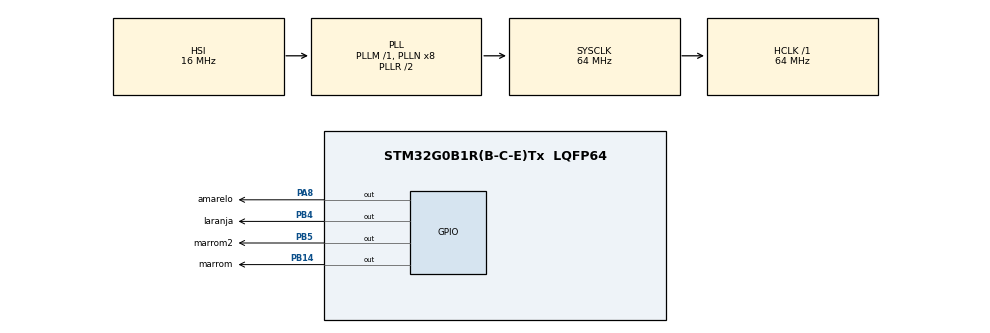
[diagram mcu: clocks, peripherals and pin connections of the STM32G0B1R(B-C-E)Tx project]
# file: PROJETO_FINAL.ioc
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Mcu.Family=STM32G0
Mcu.Name=STM32G0B1R(B-C-E)Tx
Mcu.Package=LQFP64
PA13.Mode=Serial_Wire
PA13.Signal=SYS_SWDIO
PA14-BOOT0.Mode=Serial_Wire
PA14-BOOT0.Signal=SYS_SWCLK
PA8.GPIO_Label=amarelo
PA8.GPIO_Speed=GPIO_SPEED_FREQ_VERY_HIGH
PA8.Signal=GPIO_Output
PB14.GPIO_Label=marrom
PB14.GPIO_Speed=GPIO_SPEED_FREQ_VERY_HIGH
PB14.Signal=GPIO_Output
PB4.GPIO_Label=laranja
PB4.GPIO_Speed=GPIO_SPEED_FREQ_VERY_HIGH
PB4.Signal=GPIO_Output
PB5.GPIO_Label=marrom2
PB5.GPIO_Speed=GPIO_SPEED_FREQ_VERY_HIGH
PB5.Signal=GPIO_Output
ProjectManager.HeapSize=0x200
ProjectManager.StackSize=0x400
ProjectManager.TargetToolchain=STM32CubeIDE
RCC.ADCFreq_Value=64000000
RCC.AHBFreq_Value=64000000
RCC.CortexFreq_Value=64000000
RCC.EXTERNAL_CLOCK_VALUE=48000
RCC.HCLKFreq_Value=64000000
RCC.HSE_VALUE=8000000
RCC.HSI48_VALUE=48000000
RCC.HSI_VALUE=16000000
RCC.LSE_VALUE=32768
RCC.SYSCLKFreq_VALUE=64000000
RCC.SYSCLKSource=RCC_SYSCLKSOURCE_PLLCLK
RCC.USBFreq_Value=48000000
RCC.VCOOutputFreq_Value=128000000
TIM1.Period=6400
TIM1.Prescaler=64
VP_SYS_VS_DBSignals.Mode=DisableDeadBatterySignals
VP_TIM1_VS_ClockSourceINT.Mode=Internal
VP_TIM1_VS_OPM.Mode=OPM_bit
board=custom

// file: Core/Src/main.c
/* USER CODE BEGIN Header */
/**
  ******************************************************************************
  * @file           : main.c
  * @brief          : Main program body
  ******************************************************************************
  * @attention
  *
  * Copyright (c) 2022 STMicroelectronics.
  * All rights reserved.
  *
  * This software is licensed under terms that can be found in the LICENSE file
  * in the root directory of this software component.
  * If no LICENSE file comes with this software, it is provided AS-IS.
  *
  ******************************************************************************
  */
/* USER CODE END Header */
#include "main.h"

TIM_HandleTypeDef htim1;

/* USER CODE BEGIN PV */
uint32_t delay_ms;
uint16_t amarelo;
uint16_t marrom;
uint16_t laranja;
uint16_t marrom2;
uint16_t Entrada;

/* USER CODE END PV */

void SystemClock_Config(void);
static void MX_GPIO_Init(void);
static void MX_TIM1_Init(void);
/* USER CODE BEGIN PFP */
void  delay_us  ( uint16_t  us)
{
	__HAL_TIM_SET_COUNTER( & htim1, 0 );   // define o valor do contador como 0
	while  (__HAL_TIM_GET_COUNTER( & htim1)  <  us);   // espera o contador alcançar a entrada us no parâmetro
}

/* USER CODE END PFP */

int main(void)
{
  /* USER CODE BEGIN 1 */

	/*while(HAL_TriggerCallback(TIM_HandletypeDef *htim1)== motor){

	}*/
  /* USER CODE END 1 */

  /* MCU Configuration--------------------------------------------------------*/

  /* Reset of all peripherals, Initializes the Flash interface and the Systick. */
  HAL_Init();

  /* Configure the system clock */
  SystemClock_Config();

  /* Initialize all configured peripherals */
  MX_GPIO_Init();
  MX_TIM1_Init();
  /* USER CODE BEGIN 2 */
HAL_TIM_Base_Start(&htim1);
  /* USER CODE END 2 */

  /* Infinite loop */
  /* USER CODE BEGIN WHILE */
  while (1)
  {
	 	  delay_us(850);
/*
	  Delay_motor(0.99);*/

	Entrada ++;
	 if (Entrada>8){
		 Entrada= 1;
	 }

	  switch(Entrada){
	  case 1:
		  HAL_GPIO_WritePin(amarelo_GPIO_Port, amarelo_Pin, 1);
		  HAL_GPIO_WritePin(marrom_GPIO_Port, marrom_Pin, 0);
		  HAL_GPIO_WritePin(laranja_GPIO_Port, laranja_Pin, 0);
		  HAL_GPIO_WritePin(marrom2_GPIO_Port, marrom2_Pin, 0);

		  break;
	  case 2:
		  HAL_GPIO_WritePin(amarelo_GPIO_Port, amarelo_Pin, 1);
		  HAL_GPIO_WritePin(marrom_GPIO_Port, marrom_Pin, 1);
		  HAL_GPIO_WritePin(laranja_GPIO_Port, laranja_Pin, 0);
		  HAL_GPIO_WritePin(marrom2_GPIO_Port, marrom2_Pin, 0);
		  break;
	  case 3:
		  HAL_GPIO_WritePin(amarelo_GPIO_Port, amarelo_Pin, 0);
		  HAL_GPIO_WritePin(marrom_GPIO_Port, marrom_Pin, 1);
		  HAL_GPIO_WritePin(laranja_GPIO_Port, laranja_Pin, 0);
		  HAL_GPIO_WritePin(marrom2_GPIO_Port, marrom2_Pin, 0);
		  break;
	  case 4:
		  HAL_GPIO_WritePin(amarelo_GPIO_Port, amarelo_Pin, 0);
		  HAL_GPIO_WritePin(marrom_GPIO_Port, marrom_Pin, 1);
		  HAL_GPIO_WritePin(laranja_GPIO_Port, laranja_Pin, 1);
		  HAL_GPIO_WritePin(marrom2_GPIO_Port, marrom2_Pin, 0);
		  break;
	  case 5:
		  HAL_GPIO_WritePin(amarelo_GPIO_Port, amarelo_Pin, 0);
		  HAL_GPIO_WritePin(marrom_GPIO_Port, marrom_Pin, 0);
		  HAL_GPIO_WritePin(laranja_GPIO_Port, laranja_Pin, 1);
		  HAL_GPIO_WritePin(marrom2_GPIO_Port, marrom2_Pin, 0);
		  break;
	  case 6:
		  HAL_GPIO_WritePin(amarelo_GPIO_Port, amarelo_Pin, 0);
		  HAL_GPIO_WritePin(marrom_GPIO_Port, marrom_Pin, 0);
		  HAL_GPIO_WritePin(laranja_GPIO_Port, laranja_Pin, 1);
		  HAL_GPIO_WritePin(marrom2_GPIO_Port, marrom2_Pin, 1);
		  break;
	  case 7:
		  HAL_GPIO_WritePin(amarelo_GPIO_Port, amarelo_Pin, 0);
		  HAL_GPIO_WritePin(marrom_GPIO_Port, marrom_Pin, 0);
 		  HAL_GPIO_WritePin(laranja_GPIO_Port, laranja_Pin, 0);
 		  HAL_GPIO_WritePin(marrom2_GPIO_Port, marrom2_Pin, 1);
 		  break;
	  case 8:
		  HAL_GPIO_WritePin(amarelo_GPIO_Port, amarelo_Pin, 1);
		  HAL_GPIO_WritePin(marrom_GPIO_Port, marrom_Pin, 0);
 		  HAL_GPIO_WritePin(laranja_GPIO_Port, laranja_Pin, 0);
 		  HAL_GPIO_WritePin(marrom2_GPIO_Port, marrom2_Pin, 1);
 		  break;
	  default:
	  	  break ;

	  }

	  /*Sequencia de ativacao
	  Seq = [[1,0,0,0],1
	         [1,1,0,0],2
	         [0,1,0,0],3
	         [0,1,1,0],4
	         [0,0,1,0],5
	         [0,0,1,1],6
	         [0,0,0,1],7
	         [1,0,0,1]]8
*/

    /* USER CODE END WHILE */

  }
}

void SystemClock_Config(void)
{
  RCC_OscInitTypeDef RCC_OscInitStruct = {0};
  RCC_ClkInitTypeDef RCC_ClkInitStruct = {0};

  /** Configure the main internal regulator output voltage
  */
  HAL_PWREx_ControlVoltageScaling(PWR_REGULATOR_VOLTAGE_SCALE1);
  /** Initializes the RCC Oscillators according to the specified parameters
  * in the RCC_OscInitTypeDef structure.
  */
  RCC_OscInitStruct.OscillatorType = RCC_OSCILLATORTYPE_HSI;
  RCC_OscInitStruct.HSIState = RCC_HSI_ON;
  RCC_OscInitStruct.HSIDiv = RCC_HSI_DIV1;
  RCC_OscInitStruct.HSICalibrationValue = RCC_HSICALIBRATION_DEFAULT;
  RCC_OscInitStruct.PLL.PLLState = RCC_PLL_ON;
  RCC_OscInitStruct.PLL.PLLSource = RCC_PLLSOURCE_HSI;
  RCC_OscInitStruct.PLL.PLLM = RCC_PLLM_DIV1;
  RCC_OscInitStruct.PLL.PLLN = 8;
  RCC_OscInitStruct.PLL.PLLP = RCC_PLLP_DIV2;
  RCC_OscInitStruct.PLL.PLLQ = RCC_PLLQ_DIV2;
  RCC_OscInitStruct.PLL.PLLR = RCC_PLLR_DIV2;
  if (HAL_RCC_OscConfig(&RCC_OscInitStruct) != HAL_OK)
  {
    Error_Handler();
  }
  /** Initializes the CPU, AHB and APB buses clocks
  */
  RCC_ClkInitStruct.ClockType = RCC_CLOCKTYPE_HCLK|RCC_CLOCKTYPE_SYSCLK
                              |RCC_CLOCKTYPE_PCLK1;
  RCC_ClkInitStruct.SYSCLKSource = RCC_SYSCLKSOURCE_PLLCLK;
  RCC_ClkInitStruct.AHBCLKDivider = RCC_SYSCLK_DIV1;
  RCC_ClkInitStruct.APB1CLKDivider = RCC_HCLK_DIV1;

  if (HAL_RCC_ClockConfig(&RCC_ClkInitStruct, FLASH_LATENCY_2) != HAL_OK)
  {
    Error_Handler();
  }
}

static void MX_TIM1_Init(void)
{

  TIM_ClockConfigTypeDef sClockSourceConfig = {0};
  TIM_MasterConfigTypeDef sMasterConfig = {0};

  htim1.Instance = TIM1;
  htim1.Init.Prescaler = 64;
  htim1.Init.CounterMode = TIM_COUNTERMODE_UP;
  htim1.Init.Period = 6400;
  htim1.Init.ClockDivision = TIM_CLOCKDIVISION_DIV1;
  htim1.Init.RepetitionCounter = 0;
  htim1.Init.AutoReloadPreload = TIM_AUTORELOAD_PRELOAD_DISABLE;
  if (HAL_TIM_Base_Init(&htim1) != HAL_OK)
  {
    Error_Handler();
  }
  sClockSourceConfig.ClockSource = TIM_CLOCKSOURCE_INTERNAL;
  if (HAL_TIM_ConfigClockSource(&htim1, &sClockSourceConfig) != HAL_OK)
  {
    Error_Handler();
  }
  if (HAL_TIM_OnePulse_Init(&htim1, TIM_OPMODE_SINGLE) != HAL_OK)
  {
    Error_Handler();
  }
  sMasterConfig.MasterOutputTrigger = TIM_TRGO_RESET;
  sMasterConfig.MasterOutputTrigger2 = TIM_TRGO2_RESET;
  sMasterConfig.MasterSlaveMode = TIM_MASTERSLAVEMODE_DISABLE;
  if (HAL_TIMEx_MasterConfigSynchronization(&htim1, &sMasterConfig) != HAL_OK)
  {
    Error_Handler();
  }

}

static void MX_GPIO_Init(void)
{
  GPIO_InitTypeDef GPIO_InitStruct = {0};

  /* GPIO Ports Clock Enable */
  __HAL_RCC_GPIOB_CLK_ENABLE();
  __HAL_RCC_GPIOA_CLK_ENABLE();

  /*Configure GPIO pin Output Level */
  HAL_GPIO_WritePin(GPIOB, marrom_Pin|laranja_Pin|marrom2_Pin, GPIO_PIN_RESET);

  /*Configure GPIO pin Output Level */
  HAL_GPIO_WritePin(amarelo_GPIO_Port, amarelo_Pin, GPIO_PIN_RESET);

  /*Configure GPIO pins : marrom_Pin laranja_Pin marrom2_Pin */
  GPIO_InitStruct.Pin = marrom_Pin|laranja_Pin|marrom2_Pin;
  GPIO_InitStruct.Mode = GPIO_MODE_OUTPUT_PP;
  GPIO_InitStruct.Pull = GPIO_NOPULL;
  GPIO_InitStruct.Speed = GPIO_SPEED_FREQ_VERY_HIGH;
  HAL_GPIO_Init(GPIOB, &GPIO_InitStruct);

  /*Configure GPIO pin : amarelo_Pin */
  GPIO_InitStruct.Pin = amarelo_Pin;
  GPIO_InitStruct.Mode = GPIO_MODE_OUTPUT_PP;
  GPIO_InitStruct.Pull = GPIO_NOPULL;
  GPIO_InitStruct.Speed = GPIO_SPEED_FREQ_VERY_HIGH;
  HAL_GPIO_Init(amarelo_GPIO_Port, &GPIO_InitStruct);

}

void Error_Handler(void)
{
  __disable_irq();
  while (1)
  {
  }
}
